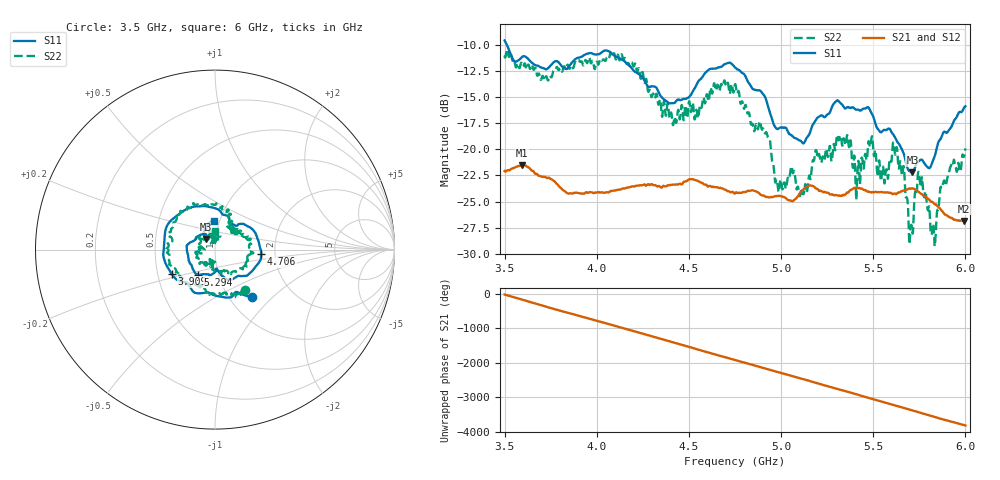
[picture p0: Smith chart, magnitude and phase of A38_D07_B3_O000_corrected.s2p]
! Created with skrf 1.9.0 (http://scikit-rf.org).
# Hz S RI R 50.0
!freq ReS11 ImS11 ReS21 ImS21 ReS12 ImS12 ReS22 ImS22
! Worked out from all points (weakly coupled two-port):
!   1601 points, 3.5 GHz to 6 GHz, reference 50 ohm
!   highest |S21| = -21.49 dB at 3.595 GHz (marker M1); lowest = -26.9 dB at 5.994 GHz (marker M2)
!   lowest |S11| = -22.2 dB at 5.713 GHz (marker M3), VSWR 1.17, Z = 45 + j5.41 ohm
!   |S11| at or under -10 dB: 3.513 GHz to end of sweep
!   |S22| runs from -29.3 to -10.4 dB; largest |S21 - S12| = 0.00091
!   S11 on the Smith chart (normalised r, x): 3.5 GHz: 1.27, -0.75; 3.909 GHz: 0.59, -0.17; 4.706 GHz: 1.69, -0.09; 5.294 GHz: 0.80, -0.23; 6 GHz: 0.94, +0.31
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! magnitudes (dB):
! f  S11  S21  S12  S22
! 3.5 GHz  -9.6  -22.1  -22.1  -11.0
! 3.595 GHz  -11.1  -21.5  -21.5  -11.9
! 3.909 GHz  -11.2  -24.2  -24.2  -11.6
! 3.917 GHz  -11.1  -24.2  -24.2  -11.6
! 4.142 GHz  -11.4  -23.7  -23.7  -11.3
! 4.334 GHz  -14.5  -23.5  -23.5  -15.7
! 4.422 GHz  -15.5  -23.4  -23.4  -16.9
! 4.706 GHz  -11.7  -24.0  -23.9  -13.8
! 4.75 GHz  -12.1  -24.2  -24.2  -13.8
! 4.928 GHz  -15.8  -24.6  -24.6  -18.8
! 4.98 GHz  -18.0  -24.5  -24.5  -23.2
! 5.167 GHz  -17.8  -23.5  -23.5  -21.6
! 5.294 GHz  -15.5  -24.4  -24.4  -20.1
! 5.416 GHz  -16.2  -23.7  -23.8  -21.7
! 5.584 GHz  -18.0  -24.1  -24.1  -21.9
! 5.619 GHz  -18.9  -24.2  -24.3  -20.5
! 5.713 GHz  -22.2  -23.7  -23.7  -28.0
! 5.753 GHz  -21.0  -24.2  -24.1  -23.1
! 5.828 GHz  -20.9  -25.2  -25.1  -27.6
! 5.873 GHz  -18.7  -25.9  -25.9  -23.6
! 5.994 GHz  -16.0  -26.9  -26.8  -20.7
! 6 GHz  -15.9  -26.8  -26.8  -19.9
